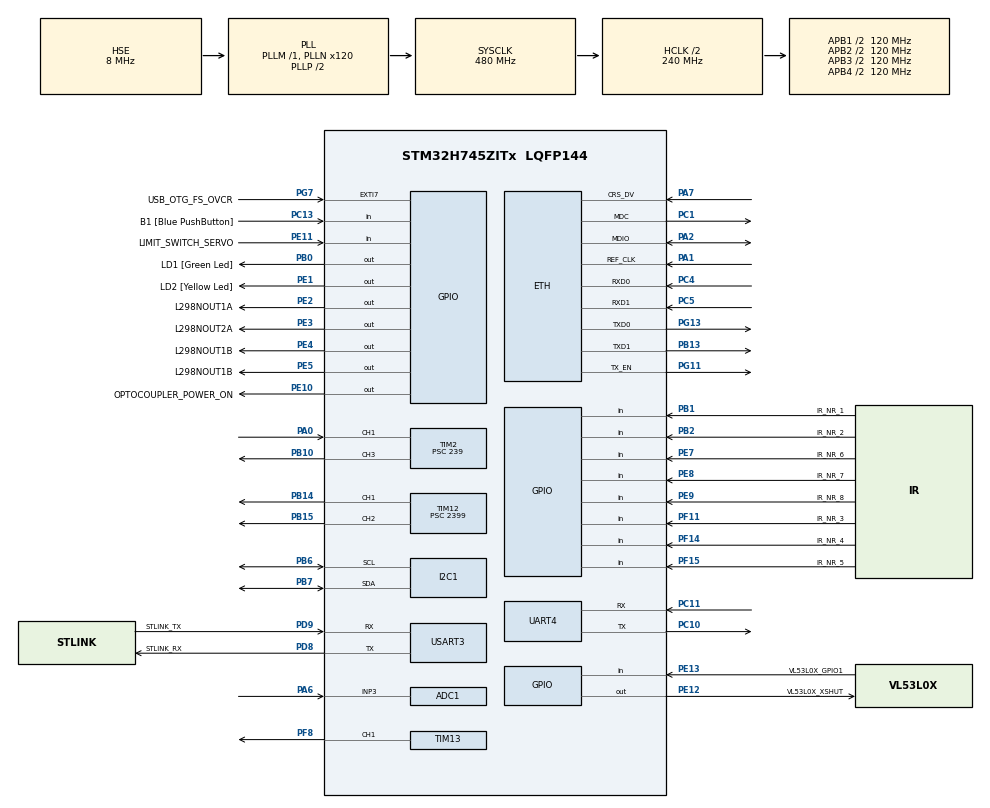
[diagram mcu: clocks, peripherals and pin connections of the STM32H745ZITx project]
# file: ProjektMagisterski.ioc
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ADC1.Channel-1\#ChannelRegularConversion=ADC_CHANNEL_3
ADC1.ContinuousConvMode=ENABLE
ADC1.NbrOfConversionFlag=1
ADC1.OffsetNumber-1\#ChannelRegularConversion=ADC_OFFSET_NONE
ADC1.OffsetSignedSaturation-1\#ChannelRegularConversion=DISABLE
ADC1.Rank-1\#ChannelRegularConversion=1
ADC1.SamplingTime-1\#ChannelRegularConversion=ADC_SAMPLETIME_1CYCLE_5
ADC1.master=1
CortexM4.IPs=FATFS_M4\:I,FREERTOS_M4\:I,IWDG2\:I,RCC,WWDG2\:I,DMA,BDMA,MDMA,NVIC2\:I,USART3,ETH,DEBUG,USB_DEVICE_M4\:I,USB_HOST_M4\:I,PDM2PCM_M4\:I,PWR,RESMGR_UTILITY,SYS_M4\:I,CORTEX_M4\:I,OPENAMP_M4\:I,VREFBUF
CortexM7.IPs=FATFS_M7\:I,FREERTOS_M7\:I,IWDG1\:I,RCC\:I,WWDG1\:I,DMA\:I,BDMA\:I,MDMA\:I,NVIC1\:I,SYS\:I,USART3\:I,USB_OTG_FS\:I,ETH\:I,CORTEX_M7\:I,DEBUG\:I,USB_DEVICE_M7\:I,USB_HOST_M7\:I,PDM2PCM_M7\:I,PWR\:I,RESMGR_UTILITY\:I,OPENAMP_M7\:I,VREFBUF\:I,TIM2\:I,UART4\:I,I2C1\:I,TIM17\:I,TIM12\:I,TIM13\:I,TIM7\:I,ADC1\:I
CortexM7.Pins=PE2,PE3,PE4,PE5,PC13,PB0,PB1,PB2,PF11,PF14,PF15,PE7,PE8,PE9,PE10,PE11,PE12,PE13,PE1
Dma.Request0=UART4_TX
Dma.UART4_TX.0.Direction=DMA_MEMORY_TO_PERIPH
Dma.UART4_TX.0.EventEnable=DISABLE
Dma.UART4_TX.0.FIFOMode=DMA_FIFOMODE_DISABLE
Dma.UART4_TX.0.Instance=DMA1_Stream0
Dma.UART4_TX.0.MemDataAlignment=DMA_MDATAALIGN_BYTE
Dma.UART4_TX.0.MemInc=DMA_MINC_ENABLE
Dma.UART4_TX.0.Mode=DMA_NORMAL
Dma.UART4_TX.0.PeriphDataAlignment=DMA_PDATAALIGN_BYTE
Dma.UART4_TX.0.PeriphInc=DMA_PINC_DISABLE
Dma.UART4_TX.0.Polarity=HAL_DMAMUX_REQ_GEN_RISING
Dma.UART4_TX.0.Priority=DMA_PRIORITY_LOW
Dma.UART4_TX.0.RequestNumber=1
Dma.UART4_TX.0.SignalID=NONE
Dma.UART4_TX.0.SyncEnable=DISABLE
Dma.UART4_TX.0.SyncPolarity=HAL_DMAMUX_SYNC_NO_EVENT
Dma.UART4_TX.0.SyncRequestNumber=1
Dma.UART4_TX.0.SyncSignalID=NONE
ETH.MediaInterface=HAL_ETH_RMII_MODE
I2C1.Timing=0x307075B1
Mcu.Family=STM32H7
Mcu.Name=STM32H745ZITx
Mcu.Package=LQFP144
NVIC1.ADC_IRQn=true\:2\:0\:true\:true\:true\:6\:true\:true
NVIC1.DMA1_Stream0_IRQn=true\:0\:0\:false\:false\:true\:false\:true
NVIC1.PriorityGroup=NVIC_PRIORITYGROUP_4
NVIC1.TIM17_IRQn=true\:0\:0\:false\:true\:true\:3\:true\:true
NVIC1.TIM2_IRQn=true\:0\:0\:false\:true\:true\:1\:true\:true
NVIC1.TIM7_IRQn=true\:0\:0\:false\:true\:true\:5\:true\:true
NVIC1.TIM8_UP_TIM13_IRQn=true\:0\:0\:false\:true\:true\:4\:true\:true
NVIC1.UART4_IRQn=true\:0\:0\:false\:true\:true\:2\:true\:true
NVIC2.PriorityGroup=NVIC_PRIORITYGROUP_4
PA0.PinAttribute=CortexM7
PA0.Signal=S_TIM2_CH1_ETR
PA1.Mode=RMII
PA1.PinAttribute=CortexM7
PA1.Signal=ETH_REF_CLK
PA11.PinAttribute=CortexM7
PA11.Signal=USB_OTG_FS_DM
PA12.PinAttribute=CortexM7
PA12.Signal=USB_OTG_FS_DP
PA13\ (JTMS/SWDIO).Mode=Serial_Wire
PA13\ (JTMS/SWDIO).PinAttribute=CortexM7
PA13\ (JTMS/SWDIO).Signal=DEBUG_JTMS-SWDIO
PA14\ (JTCK/SWCLK).Mode=Serial_Wire
PA14\ (JTCK/SWCLK).PinAttribute=CortexM7
PA14\ (JTCK/SWCLK).Signal=DEBUG_JTCK-SWCLK
PA2.Mode=RMII
PA2.PinAttribute=CortexM7
PA2.Signal=ETH_MDIO
PA6.PinAttribute=CortexM7
PA6.Signal=ADCx_INP3
PA7.Mode=RMII
PA7.PinAttribute=CortexM7
PA7.Signal=ETH_CRS_DV
PA8.PinAttribute=CortexM7
PA8.Signal=USB_OTG_FS_SOF
PA9.PinAttribute=CortexM7
PA9.Signal=USB_OTG_FS_VBUS
PB0.GPIO_Label=LD1 [Green Led]
PB0.PinAttribute=CortexM7
PB0.Signal=GPIO_Output
PB1.GPIO_Label=IR_NR_1
PB1.GPIO_PuPd=GPIO_PULLDOWN
PB1.PinAttribute=CortexM7
PB1.Signal=GPIO_Input
PB10.PinAttribute=CortexM7
PB10.Signal=S_TIM2_CH3
PB13.Mode=RMII
PB13.PinAttribute=CortexM7
PB13.Signal=ETH_TXD1
PB14.PinAttribute=CortexM7
PB14.Signal=S_TIM12_CH1
PB15.PinAttribute=CortexM7
PB15.Signal=S_TIM12_CH2
PB2.GPIO_Label=IR_NR_2
PB2.GPIO_PuPd=GPIO_PULLDOWN
PB2.PinAttribute=CortexM7
PB2.Signal=GPIO_Input
PB6.GPIO_Pu=GPIO_PULLUP
PB6.Mode=I2C
PB6.PinAttribute=CortexM7
PB6.Signal=I2C1_SCL
PB7.GPIO_Pu=GPIO_PULLUP
PB7.Mode=I2C
PB7.PinAttribute=CortexM7
PB7.Signal=I2C1_SDA
PC1.Mode=RMII
PC1.PinAttribute=CortexM7
PC1.Signal=ETH_MDC
PC10.Mode=Asynchronous
PC10.PinAttribute=CortexM7
PC10.Signal=UART4_TX
PC11.Mode=Asynchronous
PC11.PinAttribute=CortexM7
PC11.Signal=UART4_RX
PC13.GPIO_Label=B1 [Blue PushButton]
PC13.PinAttribute=CortexM7
PC13.Signal=GPIO_Input
PC14-OSC32_IN\ (OSC32_IN).Mode=LSE-External-Oscillator
PC14-OSC32_IN\ (OSC32_IN).PinAttribute=CortexM7
PC14-OSC32_IN\ (OSC32_IN).Signal=RCC_OSC32_IN
PC15-OSC32_OUT\ (OSC32_OUT).Mode=LSE-External-Oscillator
PC15-OSC32_OUT\ (OSC32_OUT).PinAttribute=CortexM7
PC15-OSC32_OUT\ (OSC32_OUT).Signal=RCC_OSC32_OUT
PC4.Mode=RMII
PC4.PinAttribute=CortexM7
PC4.Signal=ETH_RXD0
PC5.Mode=RMII
PC5.PinAttribute=CortexM7
PC5.Signal=ETH_RXD1
PD8.GPIO_Label=STLINK_RX
PD8.Mode=Asynchronous
PD8.PinAttribute=CortexM7
PD8.Signal=USART3_TX
PD9.GPIO_Label=STLINK_TX
PD9.Mode=Asynchronous
PD9.PinAttribute=CortexM7
PD9.Signal=USART3_RX
PE1.GPIO_Label=LD2 [Yellow Led]
PE1.PinAttribute=CortexM7
PE1.PinState=GPIO_PIN_RESET
PE1.Signal=GPIO_Output
PE10.GPIO_Label=OPTOCOUPLER_POWER_ON
PE10.PinAttribute=CortexM7
PE10.Signal=GPIO_Output
PE11.GPIO_Label=LIMIT_SWITCH_SERVO
PE11.GPIO_PuPd=GPIO_PULLUP
PE11.PinAttribute=CortexM7
PE11.Signal=GPIO_Input
PE12.GPIO_Label=VL53L0X_XSHUT
PE12.GPIO_ModeDefaultOutputPP=GPIO_MODE_OUTPUT_OD
PE12.GPIO_PuPd=GPIO_PULLUP
PE12.PinAttribute=CortexM7
PE12.PinState=GPIO_PIN_SET
PE12.Signal=GPIO_Output
PE13.GPIO_Label=VL53L0X_GPIO1
PE13.GPIO_PuPd=GPIO_PULLDOWN
PE13.PinAttribute=CortexM7
PE13.Signal=GPIO_Input
PE2.GPIO_Label=L298NOUT1A
PE2.PinAttribute=CortexM7
PE2.Signal=GPIO_Output
PE3.GPIO_Label=L298NOUT2A
PE3.PinAttribute=CortexM7
PE3.Signal=GPIO_Output
PE4.GPIO_Label=L298NOUT1B
PE4.PinAttribute=CortexM7
PE4.Signal=GPIO_Output
PE5.GPIO_Label=L298NOUT1B
PE5.PinAttribute=CortexM7
PE5.Signal=GPIO_Output
PE7.GPIO_Label=IR_NR_6
PE7.GPIO_PuPd=GPIO_PULLDOWN
PE7.PinAttribute=CortexM7
PE7.Signal=GPIO_Input
PE8.GPIO_Label=IR_NR_7
PE8.GPIO_PuPd=GPIO_PULLDOWN
PE8.PinAttribute=CortexM7
PE8.Signal=GPIO_Input
PE9.GPIO_Label=IR_NR_8
PE9.GPIO_PuPd=GPIO_PULLDOWN
PE9.PinAttribute=CortexM7
PE9.Signal=GPIO_Input
PF11.GPIO_Label=IR_NR_3
PF11.GPIO_PuPd=GPIO_PULLDOWN
PF11.PinAttribute=CortexM7
PF11.Signal=GPIO_Input
PF14.GPIO_Label=IR_NR_4
PF14.GPIO_PuPd=GPIO_PULLDOWN
PF14.PinAttribute=CortexM7
PF14.Signal=GPIO_Input
PF15.GPIO_Label=IR_NR_5
PF15.GPIO_PuPd=GPIO_PULLDOWN
PF15.PinAttribute=CortexM7
PF15.Signal=GPIO_Input
PF8.PinAttribute=CortexM7
PF8.Signal=S_TIM13_CH1
PG11.Mode=RMII
PG11.PinAttribute=CortexM7
PG11.Signal=ETH_TX_EN
PG13.Mode=RMII
PG13.PinAttribute=CortexM7
PG13.Signal=ETH_TXD0
PG7.GPIO_Label=USB_OTG_FS_OVCR
PG7.PinAttribute=Free
PG7.Signal=GPXTI7
PH0-OSC_IN\ (PH0).Mode=HSE-External-Clock-Source
PH0-OSC_IN\ (PH0).PinAttribute=CortexM7
PH0-OSC_IN\ (PH0).Signal=RCC_OSC_IN
PH1-OSC_OUT\ (PH1).PinAttribute=CortexM7
PH1-OSC_OUT\ (PH1).Signal=RCC_OSC_OUT
ProjectManager.HeapSize=M4-0x200,M7-0x200
ProjectManager.StackSize=M4-0x400,M7-0x400
ProjectManager.TargetToolchain=STM32CubeIDE
RCC.ADCFreq_Value=80000000
RCC.APB1Freq_Value=120000000
RCC.APB2Freq_Value=120000000
RCC.APB3Freq_Value=120000000
RCC.APB4Freq_Value=120000000
RCC.CortexFreq_Value=480000000
RCC.D1PPRE=RCC_APB3_DIV2
RCC.D2PPRE1=RCC_APB1_DIV2
RCC.D2PPRE2=RCC_APB2_DIV2
RCC.D3PPRE=RCC_APB4_DIV2
RCC.DIVM1=1
RCC.DIVM2=1
RCC.DIVM3=1
RCC.DIVN1=120
RCC.DIVN2=120
RCC.DIVN3=24
RCC.DIVP2=12
RCC.DIVQ3=4
RCC.HCLKFreq_Value=240000000
RCC.HPRE=RCC_HCLK_DIV2
RCC.HSE_VALUE=8000000
RCC.PLL2FRACN=0
RCC.PLL3FRACN=0
RCC.PLLFRACN=0
RCC.PLLSourceVirtual=RCC_PLLSOURCE_HSE
RCC.SYSCLKFreq_VALUE=480000000
RCC.SYSCLKSource=RCC_SYSCLKSOURCE_PLLCLK
RCC.SupplySource=PWR_DIRECT_SMPS_SUPPLY
RCC.USBCLockSelection=RCC_USBCLKSOURCE_PLL3
RCC.USBFreq_Value=48000000
SH.ADCx_INP3.0=ADC1_INP3,IN3-Single-Ended
SH.S_TIM12_CH1.0=TIM12_CH1,PWM Generation1 CH1
SH.S_TIM12_CH2.0=TIM12_CH2,PWM Generation2 CH2
SH.S_TIM13_CH1.0=TIM13_CH1,PWM Generation1 CH1
SH.S_TIM2_CH1_ETR.0=TIM2_CH1,Input_Capture1_from_TI1
SH.S_TIM2_CH3.0=TIM2_CH3,PWM Generation3 CH3
TIM12.Channel-PWM\ Generation1\ CH1=TIM_CHANNEL_1
TIM12.Channel-PWM\ Generation2\ CH2=TIM_CHANNEL_2
TIM12.Period=5999
TIM12.Prescaler=2399
TIM12.Pulse-PWM\ Generation1\ CH1=3000
TIM12.Pulse-PWM\ Generation2\ CH2=3000
TIM13.Channel=TIM_CHANNEL_1
TIM13.OC1Preload_PWM=ENABLE
TIM13.Period=47999
TIM13.Prescaler=99
TIM13.Pulse=3599
TIM17.AutoReloadPreload=TIM_AUTORELOAD_PRELOAD_DISABLE
TIM17.Period=34999
TIM17.Prescaler=2399
TIM2.AutoReloadPreload=TIM_AUTORELOAD_PRELOAD_ENABLE
TIM2.Channel-Input_Capture1_from_TI1=TIM_CHANNEL_1
TIM2.Channel-Input_Capture2_from_TI1_63=TIM_CHANNEL_2
TIM2.Channel-PWM\ Generation3\ CH3=TIM_CHANNEL_3
TIM2.ICPolarity_CH2=TIM_INPUTCHANNELPOLARITY_FALLING
TIM2.Period=99999
TIM2.Prescaler=239
TIM2.Pulse-PWM\ Generation3\ CH3=10
TIM7.Period=10000
TIM7.Prescaler=23
USART3.VirtualMode-Asynchronous=VM_ASYNC
VP_SYS_M4_VS_Systick.Mode=SysTick
VP_TIM12_VS_ClockSourceINT.Mode=Internal
VP_TIM13_VS_ClockSourceINT.Mode=Enable_Timer
VP_TIM17_VS_ClockSourceINT.Mode=Enable_Timer
VP_TIM2_VS_ClockSourceINT.Mode=Internal
VP_TIM2_VS_indirect_ch1.Mode=Input_Capture2_from_TI1_63
VP_TIM7_VS_ClockSourceINT.Mode=Enable_Timer
board=NUCLEO-H745ZI-Q

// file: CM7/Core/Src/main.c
/* USER CODE BEGIN Header */
/**
  ******************************************************************************
  * @file           : main.c
  * @brief          : Main program body
  ******************************************************************************
  * @attention
  *
  * <h2><center>&copy; Copyright (c) 2021 STMicroelectronics.
  * All rights reserved.</center></h2>
  *
  * This software component is licensed by ST under BSD 3-Clause license,
  * the "License"; You may not use this file except in compliance with the
  * License. You may obtain a copy of the License at:
  *                        opensource.org/licenses/BSD-3-Clause
  *
  ******************************************************************************
  */
/* USER CODE END Header */
#include "main.h"
#include "string.h"

/* USER CODE BEGIN Includes */
#include <stdio.h>
#include <stdlib.h>
#include "Car.h"
/* USER CODE END Includes */

/* USER CODE BEGIN PD */

#ifndef HSEM_ID_0
#define HSEM_ID_0 (0U) /* HW semaphore 0*/
#endif
/* USER CODE END PD */

/* USER CODE BEGIN PM */

uint8_t bufor;
/* USER CODE END PM */

#if defined ( __ICCARM__ ) /*!< IAR Compiler */

#pragma location=0x30040000
ETH_DMADescTypeDef  DMARxDscrTab[ETH_RX_DESC_CNT]; /* Ethernet Rx DMA Descriptors */
#pragma location=0x30040060
ETH_DMADescTypeDef  DMATxDscrTab[ETH_TX_DESC_CNT]; /* Ethernet Tx DMA Descriptors */
#pragma location=0x300400c0
uint8_t Rx_Buff[ETH_RX_DESC_CNT][ETH_MAX_PACKET_SIZE]; /* Ethernet Receive Buffers */

#elif defined ( __CC_ARM )  /* MDK ARM Compiler */

__attribute__((at(0x30040000))) ETH_DMADescTypeDef  DMARxDscrTab[ETH_RX_DESC_CNT]; /* Ethernet Rx DMA Descriptors */
__attribute__((at(0x30040060))) ETH_DMADescTypeDef  DMATxDscrTab[ETH_TX_DESC_CNT]; /* Ethernet Tx DMA Descriptors */
__attribute__((at(0x300400c0))) uint8_t Rx_Buff[ETH_RX_DESC_CNT][ETH_MAX_PACKET_SIZE]; /* Ethernet Receive Buffer */

#elif defined ( __GNUC__ ) /* GNU Compiler */

ETH_DMADescTypeDef DMARxDscrTab[ETH_RX_DESC_CNT] __attribute__((section(".RxDecripSection"))); /* Ethernet Rx DMA Descriptors */
ETH_DMADescTypeDef DMATxDscrTab[ETH_TX_DESC_CNT] __attribute__((section(".TxDecripSection")));   /* Ethernet Tx DMA Descriptors */
uint8_t Rx_Buff[ETH_RX_DESC_CNT][ETH_MAX_PACKET_SIZE] __attribute__((section(".RxArraySection"))); /* Ethernet Receive Buffers */

#endif

ETH_TxPacketConfig TxConfig;
ADC_HandleTypeDef hadc1;

ETH_HandleTypeDef heth;

I2C_HandleTypeDef hi2c1;

TIM_HandleTypeDef htim2;
TIM_HandleTypeDef htim7;
TIM_HandleTypeDef htim12;
TIM_HandleTypeDef htim13;
TIM_HandleTypeDef htim17;

UART_HandleTypeDef huart4;
UART_HandleTypeDef huart3;
DMA_HandleTypeDef hdma_uart4_tx;

void SystemClock_Config(void);
static void MX_GPIO_Init(void);
static void MX_DMA_Init(void);
static void MX_ETH_Init(void);
static void MX_USART3_UART_Init(void);
static void MX_TIM2_Init(void);
static void MX_UART4_Init(void);
static void MX_I2C1_Init(void);
static void MX_TIM17_Init(void);
static void MX_TIM12_Init(void);
static void MX_TIM13_Init(void);
static void MX_TIM7_Init(void);
static void MX_ADC1_Init(void);
static void MX_NVIC_Init(void);

int main(void)
{
/* USER CODE BEGIN Boot_Mode_Sequence_0 */
  int32_t timeout;
/* USER CODE END Boot_Mode_Sequence_0 */

/* USER CODE BEGIN Boot_Mode_Sequence_1 */
  /* Wait until CPU2 boots and enters in stop mode or timeout*/
  timeout = 0xFFFF;
  while((__HAL_RCC_GET_FLAG(RCC_FLAG_D2CKRDY) != RESET) && (timeout-- > 0));
  if ( timeout < 0 )
  {
  Error_Handler();
  }
/* USER CODE END Boot_Mode_Sequence_1 */
  /* MCU Configuration--------------------------------------------------------*/

  /* Reset of all peripherals, Initializes the Flash interface and the Systick. */
  HAL_Init();

  /* Configure the system clock */
  SystemClock_Config();
/* USER CODE BEGIN Boot_Mode_Sequence_2 */
/* When system initialization is finished, Cortex-M7 will release Cortex-M4 by means of
HSEM notification */
/*HW semaphore Clock enable*/
__HAL_RCC_HSEM_CLK_ENABLE();
/*Take HSEM */
HAL_HSEM_FastTake(HSEM_ID_0);
/*Release HSEM in order to notify the CPU2(CM4)*/
HAL_HSEM_Release(HSEM_ID_0,0);
/* wait until CPU2 wakes up from stop mode */
timeout = 0xFFFF;
while((__HAL_RCC_GET_FLAG(RCC_FLAG_D2CKRDY) == RESET) && (timeout-- > 0));
if ( timeout < 0 )
{
Error_Handler();
}
/* USER CODE END Boot_Mode_Sequence_2 */

  /* USER CODE BEGIN SysInit */
	//circ_bbuf_init(CIRC_BBUF_UART4RX);
  /* USER CODE END SysInit */

  /* Initialize all configured peripherals */
  MX_GPIO_Init();
  MX_DMA_Init();
  MX_ETH_Init();
  MX_USART3_UART_Init();
  MX_TIM2_Init();
  MX_UART4_Init();
  MX_I2C1_Init();
  MX_TIM17_Init();
  MX_TIM12_Init();
  MX_TIM13_Init();
  MX_TIM7_Init();
  MX_ADC1_Init();

  /* Initialize interrupts */
  MX_NVIC_Init();
  /* USER CODE BEGIN 2 */
  /*Car_Create(&huart4,
		  &htim7,
		  &htim2,
		  &hadc1,
		  OPTOCOUPLER_POWER_ON_GPIO_Port,
		  OPTOCOUPLER_POWER_ON_Pin,
		  &hi2c1,
		  VL53L0X_XSHUT_GPIO_Port,
		  VL53L0X_XSHUT_Pin,
		  &htim13,
		  TIM_CHANNEL_1);
  Car_AddIrSensor(IR_NR_1_GPIO_Port,IR_NR_1_Pin);
  Car_AddIrSensor(IR_NR_2_GPIO_Port,IR_NR_2_Pin);
  Car_AddIrSensor(IR_NR_3_GPIO_Port,IR_NR_3_Pin);
  Car_AddIrSensor(IR_NR_4_GPIO_Port,IR_NR_4_Pin);
  Car_AddIrSensor(IR_NR_5_GPIO_Port,IR_NR_5_Pin);
  Car_AddIrSensor(IR_NR_6_GPIO_Port,IR_NR_6_Pin);
  Car_AddIrSensor(IR_NR_7_GPIO_Port,IR_NR_7_Pin);
  Car_AddIrSensor(IR_NR_8_GPIO_Port,IR_NR_8_Pin);*/
  CarTestModule=Car_Create(&htim7);
  if(CarTestModule!=NULL){
	  CarTestModule->createOutMessage(CarTestModule,
			  	  	  	  	  	  	  &huart4);
	  CarTestModule->createInMessage(CarTestModule);
	  CarTestModule->createBatteryVoltage(CarTestModule,
			  	  	  	  	  	  	  	  &hadc1,
										  OPTOCOUPLER_POWER_ON_GPIO_Port,
										  OPTOCOUPLER_POWER_ON_Pin);
	  CarTestModule->createServoPR(CarTestModule,
			  	  	  	  	  	  &htim13,
								  TIM_CHANNEL_1);
	  CarTestModule->createHcSr04(CarTestModule,
			  	  	  	  	  	  &htim2);
	  CarTestModule->createVl53l0x(CarTestModule,
			  	  	  	  	  	  	 &hi2c1,
									 VL53L0X_XSHUT_GPIO_Port,
									 VL53L0X_XSHUT_Pin);
	  CarTestModule->createIrSensor(CarTestModule);
	  CarTestModule->createMotorControl(CarTestModule,GPIOE,GPIO_PIN_2,GPIO_PIN_3,GPIO_PIN_4,GPIO_PIN_5,&htim12,TIM_CHANNEL_1,TIM_CHANNEL_2);
	  CarTestModule->irSensor->addGPIO(CarTestModule->irSensor,IR_NR_1_GPIO_Port,IR_NR_1_Pin);
	  CarTestModule->irSensor->addGPIO(CarTestModule->irSensor,IR_NR_2_GPIO_Port,IR_NR_2_Pin);
	  CarTestModule->irSensor->addGPIO(CarTestModule->irSensor,IR_NR_3_GPIO_Port,IR_NR_3_Pin);
	  CarTestModule->irSensor->addGPIO(CarTestModule->irSensor,IR_NR_4_GPIO_Port,IR_NR_4_Pin);
	  CarTestModule->irSensor->addGPIO(CarTestModule->irSensor,IR_NR_5_GPIO_Port,IR_NR_5_Pin);
	  CarTestModule->irSensor->addGPIO(CarTestModule->irSensor,IR_NR_6_GPIO_Port,IR_NR_6_Pin);
	  CarTestModule->irSensor->addGPIO(CarTestModule->irSensor,IR_NR_7_GPIO_Port,IR_NR_7_Pin);
	  CarTestModule->irSensor->addGPIO(CarTestModule->irSensor,IR_NR_8_GPIO_Port,IR_NR_8_Pin);
	  HAL_TIM_Base_Start_IT(&htim7);
  }else{
	  while(1){

	  }
  }
  /* USER CODE END 2 */

  /* Infinite loop */
  /* USER CODE BEGIN WHILE */
  while (1){
	  Car_mainFun(CarTestModule);
    /* USER CODE END WHILE */

  }
}

void SystemClock_Config(void)
{
  RCC_OscInitTypeDef RCC_OscInitStruct = {0};
  RCC_ClkInitTypeDef RCC_ClkInitStruct = {0};

  /** Supply configuration update enable
  */
  HAL_PWREx_ConfigSupply(PWR_DIRECT_SMPS_SUPPLY);
  /** Configure the main internal regulator output voltage
  */
  __HAL_PWR_VOLTAGESCALING_CONFIG(PWR_REGULATOR_VOLTAGE_SCALE0);

  while(!__HAL_PWR_GET_FLAG(PWR_FLAG_VOSRDY)) {}
  /** Macro to configure the PLL clock source
  */
  __HAL_RCC_PLL_PLLSOURCE_CONFIG(RCC_PLLSOURCE_HSE);
  /** Initializes the RCC Oscillators according to the specified parameters
  * in the RCC_OscInitTypeDef structure.
  */
  RCC_OscInitStruct.OscillatorType = RCC_OSCILLATORTYPE_HSE;
  RCC_OscInitStruct.HSEState = RCC_HSE_BYPASS;
  RCC_OscInitStruct.PLL.PLLState = RCC_PLL_ON;
  RCC_OscInitStruct.PLL.PLLSource = RCC_PLLSOURCE_HSE;
  RCC_OscInitStruct.PLL.PLLM = 1;
  RCC_OscInitStruct.PLL.PLLN = 120;
  RCC_OscInitStruct.PLL.PLLP = 2;
  RCC_OscInitStruct.PLL.PLLQ = 2;
  RCC_OscInitStruct.PLL.PLLR = 2;
  RCC_OscInitStruct.PLL.PLLRGE = RCC_PLL1VCIRANGE_3;
  RCC_OscInitStruct.PLL.PLLVCOSEL = RCC_PLL1VCOWIDE;
  RCC_OscInitStruct.PLL.PLLFRACN = 0;
  if (HAL_RCC_OscConfig(&RCC_OscInitStruct) != HAL_OK)
  {
    Error_Handler();
  }
  /** Initializes the CPU, AHB and APB buses clocks
  */
  RCC_ClkInitStruct.ClockType = RCC_CLOCKTYPE_HCLK|RCC_CLOCKTYPE_SYSCLK
                              |RCC_CLOCKTYPE_PCLK1|RCC_CLOCKTYPE_PCLK2
                              |RCC_CLOCKTYPE_D3PCLK1|RCC_CLOCKTYPE_D1PCLK1;
  RCC_ClkInitStruct.SYSCLKSource = RCC_SYSCLKSOURCE_PLLCLK;
  RCC_ClkInitStruct.SYSCLKDivider = RCC_SYSCLK_DIV1;
  RCC_ClkInitStruct.AHBCLKDivider = RCC_HCLK_DIV2;
  RCC_ClkInitStruct.APB3CLKDivider = RCC_APB3_DIV2;
  RCC_ClkInitStruct.APB1CLKDivider = RCC_APB1_DIV2;
  RCC_ClkInitStruct.APB2CLKDivider = RCC_APB2_DIV2;
  RCC_ClkInitStruct.APB4CLKDivider = RCC_APB4_DIV2;

  if (HAL_RCC_ClockConfig(&RCC_ClkInitStruct, FLASH_LATENCY_4) != HAL_OK)
  {
    Error_Handler();
  }
}

/**
  * @brief NVIC Configuration.
  * @retval None
  */
static void MX_NVIC_Init(void)
{
  /* TIM2_IRQn interrupt configuration */
  HAL_NVIC_SetPriority(TIM2_IRQn, 0, 0);
  HAL_NVIC_EnableIRQ(TIM2_IRQn);
  /* UART4_IRQn interrupt configuration */
  HAL_NVIC_SetPriority(UART4_IRQn, 0, 0);
  HAL_NVIC_EnableIRQ(UART4_IRQn);
  /* TIM17_IRQn interrupt configuration */
  HAL_NVIC_SetPriority(TIM17_IRQn, 0, 0);
  HAL_NVIC_EnableIRQ(TIM17_IRQn);
  /* TIM8_UP_TIM13_IRQn interrupt configuration */
  HAL_NVIC_SetPriority(TIM8_UP_TIM13_IRQn, 0, 0);
  HAL_NVIC_EnableIRQ(TIM8_UP_TIM13_IRQn);
  /* TIM7_IRQn interrupt configuration */
  HAL_NVIC_SetPriority(TIM7_IRQn, 0, 0);
  HAL_NVIC_EnableIRQ(TIM7_IRQn);
  /* ADC_IRQn interrupt configuration */
  HAL_NVIC_SetPriority(ADC_IRQn, 2, 0);
  HAL_NVIC_EnableIRQ(ADC_IRQn);
}

static void MX_ADC1_Init(void)
{

  ADC_MultiModeTypeDef multimode = {0};
  ADC_ChannelConfTypeDef sConfig = {0};

  /** Common config
  */
  hadc1.Instance = ADC1;
  hadc1.Init.ClockPrescaler = ADC_CLOCK_ASYNC_DIV1;
  hadc1.Init.Resolution = ADC_RESOLUTION_16B;
  hadc1.Init.ScanConvMode = ADC_SCAN_DISABLE;
  hadc1.Init.EOCSelection = ADC_EOC_SINGLE_CONV;
  hadc1.Init.LowPowerAutoWait = DISABLE;
  hadc1.Init.ContinuousConvMode = ENABLE;
  hadc1.Init.NbrOfConversion = 1;
  hadc1.Init.DiscontinuousConvMode = DISABLE;
  hadc1.Init.ExternalTrigConv = ADC_SOFTWARE_START;
  hadc1.Init.ExternalTrigConvEdge = ADC_EXTERNALTRIGCONVEDGE_NONE;
  hadc1.Init.ConversionDataManagement = ADC_CONVERSIONDATA_DR;
  hadc1.Init.Overrun = ADC_OVR_DATA_PRESERVED;
  hadc1.Init.LeftBitShift = ADC_LEFTBITSHIFT_NONE;
  hadc1.Init.OversamplingMode = DISABLE;
  if (HAL_ADC_Init(&hadc1) != HAL_OK)
  {
    Error_Handler();
  }
  /** Configure the ADC multi-mode
  */
  multimode.Mode = ADC_MODE_INDEPENDENT;
  if (HAL_ADCEx_MultiModeConfigChannel(&hadc1, &multimode) != HAL_OK)
  {
    Error_Handler();
  }
  /** Configure Regular Channel
  */
  sConfig.Channel = ADC_CHANNEL_3;
  sConfig.Rank = ADC_REGULAR_RANK_1;
  sConfig.SamplingTime = ADC_SAMPLETIME_1CYCLE_5;
  sConfig.SingleDiff = ADC_SINGLE_ENDED;
  sConfig.OffsetNumber = ADC_OFFSET_NONE;
  sConfig.Offset = 0;
  sConfig.OffsetSignedSaturation = DISABLE;
  if (HAL_ADC_ConfigChannel(&hadc1, &sConfig) != HAL_OK)
  {
    Error_Handler();
  }

}

static void MX_ETH_Init(void)
{

   static uint8_t MACAddr[6];

  heth.Instance = ETH;
  MACAddr[0] = 0x00;
  MACAddr[1] = 0x80;
  MACAddr[2] = 0xE1;
  MACAddr[3] = 0x00;
  MACAddr[4] = 0x00;
  MACAddr[5] = 0x00;
  heth.Init.MACAddr = &MACAddr[0];
  heth.Init.MediaInterface = HAL_ETH_RMII_MODE;
  heth.Init.TxDesc = DMATxDscrTab;
  heth.Init.RxDesc = DMARxDscrTab;
  heth.Init.RxBuffLen = 1524;

  if (HAL_ETH_Init(&heth) != HAL_OK)
  {
    Error_Handler();
  }

  memset(&TxConfig, 0 , sizeof(ETH_TxPacketConfig));
  TxConfig.Attributes = ETH_TX_PACKETS_FEATURES_CSUM | ETH_TX_PACKETS_FEATURES_CRCPAD;
  TxConfig.ChecksumCtrl = ETH_CHECKSUM_IPHDR_PAYLOAD_INSERT_PHDR_CALC;
  TxConfig.CRCPadCtrl = ETH_CRC_PAD_INSERT;

}

static void MX_I2C1_Init(void)
{

  hi2c1.Instance = I2C1;
  hi2c1.Init.Timing = 0x307075B1;
  hi2c1.Init.OwnAddress1 = 0;
  hi2c1.Init.AddressingMode = I2C_ADDRESSINGMODE_7BIT;
  hi2c1.Init.DualAddressMode = I2C_DUALADDRESS_DISABLE;
  hi2c1.Init.OwnAddress2 = 0;
  hi2c1.Init.OwnAddress2Masks = I2C_OA2_NOMASK;
  hi2c1.Init.GeneralCallMode = I2C_GENERALCALL_DISABLE;
  hi2c1.Init.NoStretchMode = I2C_NOSTRETCH_DISABLE;
  if (HAL_I2C_Init(&hi2c1) != HAL_OK)
  {
    Error_Handler();
  }
  /** Configure Analogue filter
  */
  if (HAL_I2CEx_ConfigAnalogFilter(&hi2c1, I2C_ANALOGFILTER_ENABLE) != HAL_OK)
  {
    Error_Handler();
  }
  /** Configure Digital filter
  */
  if (HAL_I2CEx_ConfigDigitalFilter(&hi2c1, 0) != HAL_OK)
  {
    Error_Handler();
  }

}

static void MX_TIM2_Init(void)
{

  TIM_ClockConfigTypeDef sClockSourceConfig = {0};
  TIM_MasterConfigTypeDef sMasterConfig = {0};
  TIM_IC_InitTypeDef sConfigIC = {0};
  TIM_OC_InitTypeDef sConfigOC = {0};

  htim2.Instance = TIM2;
  htim2.Init.Prescaler = 239;
  htim2.Init.CounterMode = TIM_COUNTERMODE_UP;
  htim2.Init.Period = 99999;
  htim2.Init.ClockDivision = TIM_CLOCKDIVISION_DIV1;
  htim2.Init.AutoReloadPreload = TIM_AUTORELOAD_PRELOAD_ENABLE;
  if (HAL_TIM_Base_Init(&htim2) != HAL_OK)
  {
    Error_Handler();
  }
  sClockSourceConfig.ClockSource = TIM_CLOCKSOURCE_INTERNAL;
  if (HAL_TIM_ConfigClockSource(&htim2, &sClockSourceConfig) != HAL_OK)
  {
    Error_Handler();
  }
  if (HAL_TIM_IC_Init(&htim2) != HAL_OK)
  {
    Error_Handler();
  }
  if (HAL_TIM_PWM_Init(&htim2) != HAL_OK)
  {
    Error_Handler();
  }
  sMasterConfig.MasterOutputTrigger = TIM_TRGO_RESET;
  sMasterConfig.MasterSlaveMode = TIM_MASTERSLAVEMODE_DISABLE;
  if (HAL_TIMEx_MasterConfigSynchronization(&htim2, &sMasterConfig) != HAL_OK)
  {
    Error_Handler();
  }
  sConfigIC.ICPolarity = TIM_INPUTCHANNELPOLARITY_RISING;
  sConfigIC.ICSelection = TIM_ICSELECTION_DIRECTTI;
  sConfigIC.ICPrescaler = TIM_ICPSC_DIV1;
  sConfigIC.ICFilter = 0;
  if (HAL_TIM_IC_ConfigChannel(&htim2, &sConfigIC, TIM_CHANNEL_1) != HAL_OK)
  {
    Error_Handler();
  }
  sConfigIC.ICPolarity = TIM_INPUTCHANNELPOLARITY_FALLING;
  sConfigIC.ICSelection = TIM_ICSELECTION_INDIRECTTI;
  if (HAL_TIM_IC_ConfigChannel(&htim2, &sConfigIC, TIM_CHANNEL_2) != HAL_OK)
  {
    Error_Handler();
  }
  sConfigOC.OCMode = TIM_OCMODE_PWM1;
  sConfigOC.Pulse = 10;
  sConfigOC.OCPolarity = TIM_OCPOLARITY_HIGH;
  sConfigOC.OCFastMode = TIM_OCFAST_DISABLE;
  if (HAL_TIM_PWM_ConfigChannel(&htim2, &sConfigOC, TIM_CHANNEL_3) != HAL_OK)
  {
    Error_Handler();
  }
  HAL_TIM_MspPostInit(&htim2);

}

static void MX_TIM7_Init(void)
{

  TIM_MasterConfigTypeDef sMasterConfig = {0};

  htim7.Instance = TIM7;
  htim7.Init.Prescaler = 23;
  htim7.Init.CounterMode = TIM_COUNTERMODE_UP;
  htim7.Init.Period = 10000;
  htim7.Init.AutoReloadPreload = TIM_AUTORELOAD_PRELOAD_DISABLE;
  if (HAL_TIM_Base_Init(&htim7) != HAL_OK)
  {
    Error_Handler();
  }
  sMasterConfig.MasterOutputTrigger = TIM_TRGO_RESET;
  sMasterConfig.MasterSlaveMode = TIM_MASTERSLAVEMODE_DISABLE;
  if (HAL_TIMEx_MasterConfigSynchronization(&htim7, &sMasterConfig) != HAL_OK)
  {
    Error_Handler();
  }

}

static void MX_TIM12_Init(void)
{

  TIM_ClockConfigTypeDef sClockSourceConfig = {0};
  TIM_OC_InitTypeDef sConfigOC = {0};

  htim12.Instance = TIM12;
  htim12.Init.Prescaler = 2399;
  htim12.Init.CounterMode = TIM_COUNTERMODE_UP;
  htim12.Init.Period = 5999;
  htim12.Init.ClockDivision = TIM_CLOCKDIVISION_DIV1;
  htim12.Init.AutoReloadPreload = TIM_AUTORELOAD_PRELOAD_DISABLE;
  if (HAL_TIM_Base_Init(&htim12) != HAL_OK)
  {
    Error_Handler();
  }
  sClockSourceConfig.ClockSource = TIM_CLOCKSOURCE_INTERNAL;
  if (HAL_TIM_ConfigClockSource(&htim12, &sClockSourceConfig) != HAL_OK)
  {
    Error_Handler();
  }
  if (HAL_TIM_PWM_Init(&htim12) != HAL_OK)
  {
    Error_Handler();
  }
  sConfigOC.OCMode = TIM_OCMODE_PWM1;
  sConfigOC.Pulse = 3000;
  sConfigOC.OCPolarity = TIM_OCPOLARITY_HIGH;
  sConfigOC.OCFastMode = TIM_OCFAST_DISABLE;
  if (HAL_TIM_PWM_ConfigChannel(&htim12, &sConfigOC, TIM_CHANNEL_1) != HAL_OK)
  {
    Error_Handler();
  }
  if (HAL_TIM_PWM_ConfigChannel(&htim12, &sConfigOC, TIM_CHANNEL_2) != HAL_OK)
  {
    Error_Handler();
  }
  HAL_TIM_MspPostInit(&htim12);

}

static void MX_TIM13_Init(void)
{

  TIM_OC_InitTypeDef sConfigOC = {0};

  htim13.Instance = TIM13;
  htim13.Init.Prescaler = 99;
  htim13.Init.CounterMode = TIM_COUNTERMODE_UP;
  htim13.Init.Period = 47999;
  htim13.Init.ClockDivision = TIM_CLOCKDIVISION_DIV1;
  htim13.Init.AutoReloadPreload = TIM_AUTORELOAD_PRELOAD_DISABLE;
  if (HAL_TIM_Base_Init(&htim13) != HAL_OK)
  {
    Error_Handler();
  }
  if (HAL_TIM_PWM_Init(&htim13) != HAL_OK)
  {
    Error_Handler();
  }
  sConfigOC.OCMode = TIM_OCMODE_PWM1;
  sConfigOC.Pulse = 3599;
  sConfigOC.OCPolarity = TIM_OCPOLARITY_HIGH;
  sConfigOC.OCFastMode = TIM_OCFAST_DISABLE;
  if (HAL_TIM_PWM_ConfigChannel(&htim13, &sConfigOC, TIM_CHANNEL_1) != HAL_OK)
  {
    Error_Handler();
  }
  HAL_TIM_MspPostInit(&htim13);

}

static void MX_TIM17_Init(void)
{

  htim17.Instance = TIM17;
  htim17.Init.Prescaler = 2399;
  htim17.Init.CounterMode = TIM_COUNTERMODE_UP;
  htim17.Init.Period = 34999;
  htim17.Init.ClockDivision = TIM_CLOCKDIVISION_DIV1;
  htim17.Init.RepetitionCounter = 0;
  htim17.Init.AutoReloadPreload = TIM_AUTORELOAD_PRELOAD_DISABLE;
  if (HAL_TIM_Base_Init(&htim17) != HAL_OK)
  {
    Error_Handler();
  }

}

static void MX_UART4_Init(void)
{

  huart4.Instance = UART4;
  huart4.Init.BaudRate = 115200;
  huart4.Init.WordLength = UART_WORDLENGTH_8B;
  huart4.Init.StopBits = UART_STOPBITS_1;
  huart4.Init.Parity = UART_PARITY_NONE;
  huart4.Init.Mode = UART_MODE_TX_RX;
  huart4.Init.HwFlowCtl = UART_HWCONTROL_NONE;
  huart4.Init.OverSampling = UART_OVERSAMPLING_16;
  huart4.Init.OneBitSampling = UART_ONE_BIT_SAMPLE_DISABLE;
  huart4.Init.ClockPrescaler = UART_PRESCALER_DIV1;
  huart4.AdvancedInit.AdvFeatureInit = UART_ADVFEATURE_NO_INIT;
  if (HAL_UART_Init(&huart4) != HAL_OK)
  {
    Error_Handler();
  }
  if (HAL_UARTEx_SetTxFifoThreshold(&huart4, UART_TXFIFO_THRESHOLD_1_8) != HAL_OK)
  {
    Error_Handler();
  }
  if (HAL_UARTEx_SetRxFifoThreshold(&huart4, UART_RXFIFO_THRESHOLD_1_8) != HAL_OK)
  {
    Error_Handler();
  }
  if (HAL_UARTEx_DisableFifoMode(&huart4) != HAL_OK)
  {
    Error_Handler();
  }

}

static void MX_USART3_UART_Init(void)
{

  huart3.Instance = USART3;
  huart3.Init.BaudRate = 115200;
  huart3.Init.WordLength = UART_WORDLENGTH_8B;
  huart3.Init.StopBits = UART_STOPBITS_1;
  huart3.Init.Parity = UART_PARITY_NONE;
  huart3.Init.Mode = UART_MODE_TX_RX;
  huart3.Init.HwFlowCtl = UART_HWCONTROL_NONE;
  huart3.Init.OverSampling = UART_OVERSAMPLING_16;
  huart3.Init.OneBitSampling = UART_ONE_BIT_SAMPLE_DISABLE;
  huart3.Init.ClockPrescaler = UART_PRESCALER_DIV1;
  huart3.AdvancedInit.AdvFeatureInit = UART_ADVFEATURE_NO_INIT;
  if (HAL_UART_Init(&huart3) != HAL_OK)
  {
    Error_Handler();
  }
  if (HAL_UARTEx_SetTxFifoThreshold(&huart3, UART_TXFIFO_THRESHOLD_1_8) != HAL_OK)
  {
    Error_Handler();
  }
  if (HAL_UARTEx_SetRxFifoThreshold(&huart3, UART_RXFIFO_THRESHOLD_1_8) != HAL_OK)
  {
    Error_Handler();
  }
  if (HAL_UARTEx_DisableFifoMode(&huart3) != HAL_OK)
  {
    Error_Handler();
  }

}

static void MX_DMA_Init(void)
{

  /* DMA controller clock enable */
  __HAL_RCC_DMA1_CLK_ENABLE();

  /* DMA interrupt init */
  /* DMA1_Stream0_IRQn interrupt configuration */
  HAL_NVIC_SetPriority(DMA1_Stream0_IRQn, 0, 0);
  HAL_NVIC_EnableIRQ(DMA1_Stream0_IRQn);

}

static void MX_GPIO_Init(void)
{
  GPIO_InitTypeDef GPIO_InitStruct = {0};

  /* GPIO Ports Clock Enable */
  __HAL_RCC_GPIOE_CLK_ENABLE();
  __HAL_RCC_GPIOC_CLK_ENABLE();
  __HAL_RCC_GPIOF_CLK_ENABLE();
  __HAL_RCC_GPIOH_CLK_ENABLE();
  __HAL_RCC_GPIOA_CLK_ENABLE();
  __HAL_RCC_GPIOB_CLK_ENABLE();
  __HAL_RCC_GPIOD_CLK_ENABLE();
  __HAL_RCC_GPIOG_CLK_ENABLE();

  /*Configure GPIO pin Output Level */
  HAL_GPIO_WritePin(GPIOE, L298NOUT1A_Pin|L298NOUT2A_Pin|L298NOUT1B_Pin|L298NOUT1BE5_Pin
                          |OPTOCOUPLER_POWER_ON_Pin|LD2_Pin, GPIO_PIN_RESET);

  /*Configure GPIO pin Output Level */
  HAL_GPIO_WritePin(LD1_GPIO_Port, LD1_Pin, GPIO_PIN_RESET);

  /*Configure GPIO pin Output Level */
  HAL_GPIO_WritePin(VL53L0X_XSHUT_GPIO_Port, VL53L0X_XSHUT_Pin, GPIO_PIN_SET);

  /*Configure GPIO pins : L298NOUT1A_Pin L298NOUT2A_Pin L298NOUT1B_Pin L298NOUT1BE5_Pin
                           OPTOCOUPLER_POWER_ON_Pin LD2_Pin */
  GPIO_InitStruct.Pin = L298NOUT1A_Pin|L298NOUT2A_Pin|L298NOUT1B_Pin|L298NOUT1BE5_Pin
                          |OPTOCOUPLER_POWER_ON_Pin|LD2_Pin;
  GPIO_InitStruct.Mode = GPIO_MODE_OUTPUT_PP;
  GPIO_InitStruct.Pull = GPIO_NOPULL;
  GPIO_InitStruct.Speed = GPIO_SPEED_FREQ_LOW;
  HAL_GPIO_Init(GPIOE, &GPIO_InitStruct);

  /*Configure GPIO pin : B1_Pin */
  GPIO_InitStruct.Pin = B1_Pin;
  GPIO_InitStruct.Mode = GPIO_MODE_INPUT;
  GPIO_InitStruct.Pull = GPIO_NOPULL;
  HAL_GPIO_Init(B1_GPIO_Port, &GPIO_InitStruct);

  /*Configure GPIO pin : LD1_Pin */
  GPIO_InitStruct.Pin = LD1_Pin;
  GPIO_InitStruct.Mode = GPIO_MODE_OUTPUT_PP;
  GPIO_InitStruct.Pull = GPIO_NOPULL;
  GPIO_InitStruct.Speed = GPIO_SPEED_FREQ_LOW;
  HAL_GPIO_Init(LD1_GPIO_Port, &GPIO_InitStruct);

  /*Configure GPIO pins : IR_NR_1_Pin IR_NR_2_Pin */
  GPIO_InitStruct.Pin = IR_NR_1_Pin|IR_NR_2_Pin;
  GPIO_InitStruct.Mode = GPIO_MODE_INPUT;
  GPIO_InitStruct.Pull = GPIO_PULLDOWN;
  HAL_GPIO_Init(GPIOB, &GPIO_InitStruct);

  /*Configure GPIO pins : IR_NR_3_Pin IR_NR_4_Pin IR_NR_5_Pin */
  GPIO_InitStruct.Pin = IR_NR_3_Pin|IR_NR_4_Pin|IR_NR_5_Pin;
  GPIO_InitStruct.Mode = GPIO_MODE_INPUT;
  GPIO_InitStruct.Pull = GPIO_PULLDOWN;
  HAL_GPIO_Init(GPIOF, &GPIO_InitStruct);

  /*Configure GPIO pins : IR_NR_6_Pin IR_NR_7_Pin IR_NR_8_Pin VL53L0X_GPIO1_Pin */
  GPIO_InitStruct.Pin = IR_NR_6_Pin|IR_NR_7_Pin|IR_NR_8_Pin|VL53L0X_GPIO1_Pin;
  GPIO_InitStruct.Mode = GPIO_MODE_INPUT;
  GPIO_InitStruct.Pull = GPIO_PULLDOWN;
  HAL_GPIO_Init(GPIOE, &GPIO_InitStruct);

  /*Configure GPIO pin : LIMIT_SWITCH_SERVO_Pin */
  GPIO_InitStruct.Pin = LIMIT_SWITCH_SERVO_Pin;
  GPIO_InitStruct.Mode = GPIO_MODE_INPUT;
  GPIO_InitStruct.Pull = GPIO_PULLUP;
  HAL_GPIO_Init(LIMIT_SWITCH_SERVO_GPIO_Port, &GPIO_InitStruct);

  /*Configure GPIO pin : VL53L0X_XSHUT_Pin */
  GPIO_InitStruct.Pin = VL53L0X_XSHUT_Pin;
  GPIO_InitStruct.Mode = GPIO_MODE_OUTPUT_OD;
  GPIO_InitStruct.Pull = GPIO_PULLUP;
  GPIO_InitStruct.Speed = GPIO_SPEED_FREQ_LOW;
  HAL_GPIO_Init(VL53L0X_XSHUT_GPIO_Port, &GPIO_InitStruct);

  /*Configure GPIO pins : PA8 PA11 PA12 */
  GPIO_InitStruct.Pin = GPIO_PIN_8|GPIO_PIN_11|GPIO_PIN_12;
  GPIO_InitStruct.Mode = GPIO_MODE_AF_PP;
  GPIO_InitStruct.Pull = GPIO_NOPULL;
  GPIO_InitStruct.Speed = GPIO_SPEED_FREQ_LOW;
  GPIO_InitStruct.Alternate = GPIO_AF10_OTG1_FS;
  HAL_GPIO_Init(GPIOA, &GPIO_InitStruct);

}

void Error_Handler(void)
{
  __disable_irq();
  while (1)
  {
  }
}
